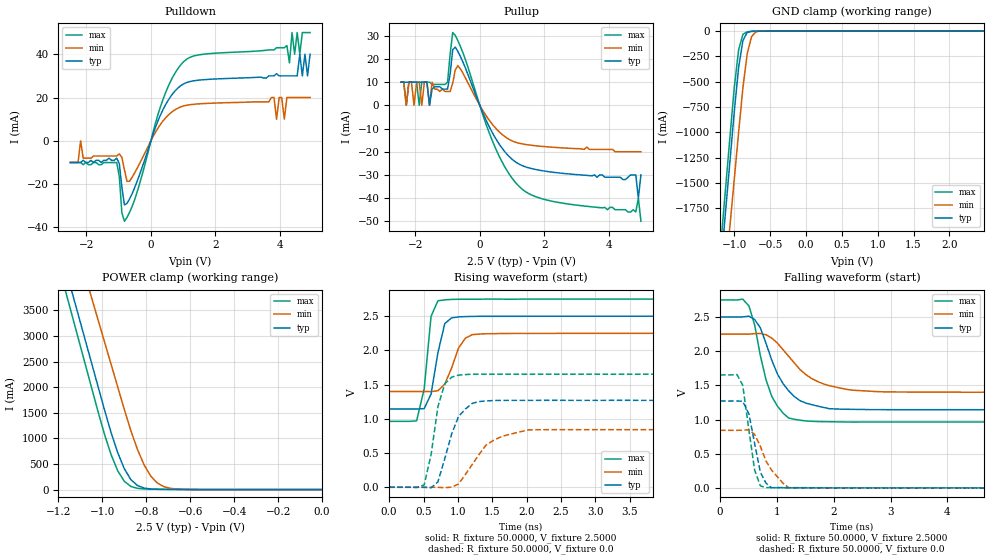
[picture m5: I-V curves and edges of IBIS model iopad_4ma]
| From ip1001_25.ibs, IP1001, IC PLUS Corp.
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|   Model iopad_4ma
[Model]  iopad_4ma
Model_type I/O
Polarity   Non-Inverting
Enable   Active-Low
Vinl =   0.8000V
Vinh =   1.8000V
Vmeas =  1.2500V
C_comp   0.3000pF   0.2400pF   0.3600pF
[Temperature Range]   27.0000   100.0000   0.0
[Voltage Range]   2.5000V   2.2500V   2.7500V
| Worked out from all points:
|   slope of the pulldown table from 0 to 0.375 V, typ, clamps not added: 26 ohm
|   slope of the pullup table from 0 to 0.375 V, typ, clamps not added: 32.9 ohm
|   GND clamp passes 1 mA (typ) near -0.63 V on its own axis
|   POWER clamp passes 1 mA (typ) near -0.57 V on its own axis
|   rising waveform, R_fixture 50.0000, V_fixture 2.5000: 20-80 % time 153ps typ, 205ps min, 118ps max; typ from 1.14 V to 2.5 V
|   rising waveform, R_fixture 50.0000, V_fixture 0.0: 20-80 % time 242ps typ, 404ps min, 176ps max; typ from 0 V to 1.27 V
|   falling waveform, R_fixture 50.0000, V_fixture 2.5000: 20-80 % time 455ps typ, 635ps min, 317ps max; typ from 2.5 V to 1.14 V
|   falling waveform, R_fixture 50.0000, V_fixture 0.0: 20-80 % time 180ps typ, 330ps min, 168ps max; typ from 1.27 V to 0 V
[Pulldown]
|Voltage   I(typ)   I(min)   I(max)
-2.5V     -10mA      -10mA      -10mA
-1.06V    -8mA       -7mA       -10mA
-820mV    -29.62mA   -13.4mA    -37.15mA
1.02V     26.34mA    16.14mA    36.6mA
3.82V     30mA       20mA       42mA
3.9V      31mA       10mA       43mA
4.06V     30mA       20mA       43mA
4.14V     30mA       10mA       43mA
4.3V      30mA       20mA       36mA
4.38V     30mA       20mA       50mA
4.46V     30mA       20mA       40mA
4.94V     40mA       20mA       50mA
[Pullup]
|Voltage   I(typ)   I(min)   I(max)
-2.44V    10mA       10mA       10mA
-2.28V    10mA       0A         0A
-2.2V     10mA       10mA       10mA
-2.04V    10mA       0A         10mA
-1.88V    10mA       10mA       0A
-1.8V     10mA       0A         10mA
-1V       7mA        6mA        10mA
-840mV    23.96mA    9.6mA      31.38mA
1.24V     -25.5mA    -16.41mA   -35.21mA
4.84V     -30mA      -20mA      -46mA
4.92V     -40mA      -20mA      -40mA
5V        -30mA      -20mA      -50mA
[GND_clamp]
|Voltage   I(typ)   I(min)   I(max)
-2.5V     -12.93A    -12.87A    -12.97A
-1.18V    -2.249A    -2.828A    -2.033A
-1.12V    -1.763A    -2.371A    -1.535A
-1.06V    -1.278A    -1.914A    -1.038A
-1V       -792.5mA   -1.458A    -553.9mA
-940mV    -360.7mA   -1.001A    -186.7mA
-880mV    -94.64mA   -559.3mA   -34.17mA
-820mV    -15.98mA   -224.8mA   -9.643mA
-760mV    -4.328mA   -57.1mA    -5.898mA
-700mV    -2.122mA   -10.8mA    -4.108mA
-640mV    -1.103mA   -2.066mA   -2.655mA
2.48V     17.28pA    560.9nA    -93.93pA
[POWER_clamp]
|Voltage   I(typ)   I(min)   I(max)
-2.49V    24.9A      24.89A     24.94A
-1.17V    4.361A     5.529A     3.923A
-1.14V    3.894A     5.089A     3.445A
-1.11V    3.427A     4.649A     2.967A
-1.05V    2.493A     3.769A     2.012A
-960mV    1.115A     2.449A     684.3mA
-900mV    410.3mA    1.569A     163.2mA
-870mV    195.4mA    1.152A     62.28mA
-810mV    30.55mA    484.8mA    12.48mA
-750mV    6.57mA     129.6mA    6.615mA
-630mV    1.841mA    4.742mA    3.357mA
0V        80.13pA    246.2pA    118.4pA
[Ramp]
| variable   typ   min   max
dV/dt_r  0.7626/0.2417n   0.5053/0.3961n   0.9918/0.1757n
dV/dt_f  0.8136/0.4546n   0.5100/0.6251n   1.0718/0.3170n
R_load = 50.0000
[Rising Waveform]
R_fixture= 50.0000
V_fixture= 2.5000
V_fixture_min= 2.2500
V_fixture_max= 2.7500
|time   V(typ)   V(min)   V(max)
0s        1.144V     1.4V       963.6mV
400ps     1.144V     1.4V       971.2mV
510ps     1.15V      1.4V       1.439V
610ps     1.362V     1.398V     2.498V
710ps     1.968V     1.411V     2.726V
810ps     2.393V     1.508V     2.739V
1.01ns    2.49V      2.036V     2.748V
1.11ns    2.495V     2.179V     2.749V
1.21ns    2.497V     2.231V     2.749V
10ns      2.5V       2.25V      2.75V
[Rising Waveform]
R_fixture= 50.0000
V_fixture= 0.0
V_fixture_min= 0.0
V_fixture_max= 0.0
|time   V(typ)   V(min)   V(max)
0s        0V         0V         0V
510ps     -1.454mV   -4.321uV   33.97mV
610ps     -8.752mV   327.9uV    475.1mV
710ps     79.51mV    -857.6uV   1.179V
810ps     418.4mV    -7.244mV   1.513V
1.01ns    1.034V     46.76mV    1.639V
1.21ns    1.226V     333.8mV    1.653V
1.41ns    1.262V     615.7mV    1.653V
2.02ns    1.27V      837.6mV    1.653V
10ns      1.271V     842.2mV    1.653V
[Falling Waveform]
R_fixture= 50.0000
V_fixture= 2.5000
V_fixture_min= 2.2500
V_fixture_max= 2.7500
|time   V(typ)   V(min)   V(max)
0s        2.5V       2.25V      2.75V
400ps     2.502V     2.249V     2.762V
510ps     2.513V     2.25V      2.661V
610ps     2.463V     2.257V     2.384V
710ps     2.342V     2.26V      1.936V
910ps     1.871V     2.193V     1.341V
1.31ns    1.334V     1.826V     1.003V
1.72ns    1.196V     1.555V     970.9mV
2.42ns    1.148V     1.425V     963.4mV
10ns      1.144V     1.4V       963.6mV
[Falling Waveform]
R_fixture= 50.0000
V_fixture= 0.0
V_fixture_min= 0.0
V_fixture_max= 0.0
|time   V(typ)   V(min)   V(max)
0s        1.271V     842.2mV    1.653V
300ps     1.271V     842mV      1.658V
400ps     1.267V     844.2mV    1.502V
510ps     1.077V     850.9mV    836.8mV
610ps     648.1mV    782.3mV    258.6mV
710ps     229.2mV    609.2mV    29.23mV
810ps     67.39mV    391.5mV    3.597mV
910ps     196.3uV    257.2mV    3.72mV
1.21ns    2.214mV    1.954mV    813.5uV
10ns      -1.201uV   -2.071uV   1.975uV
